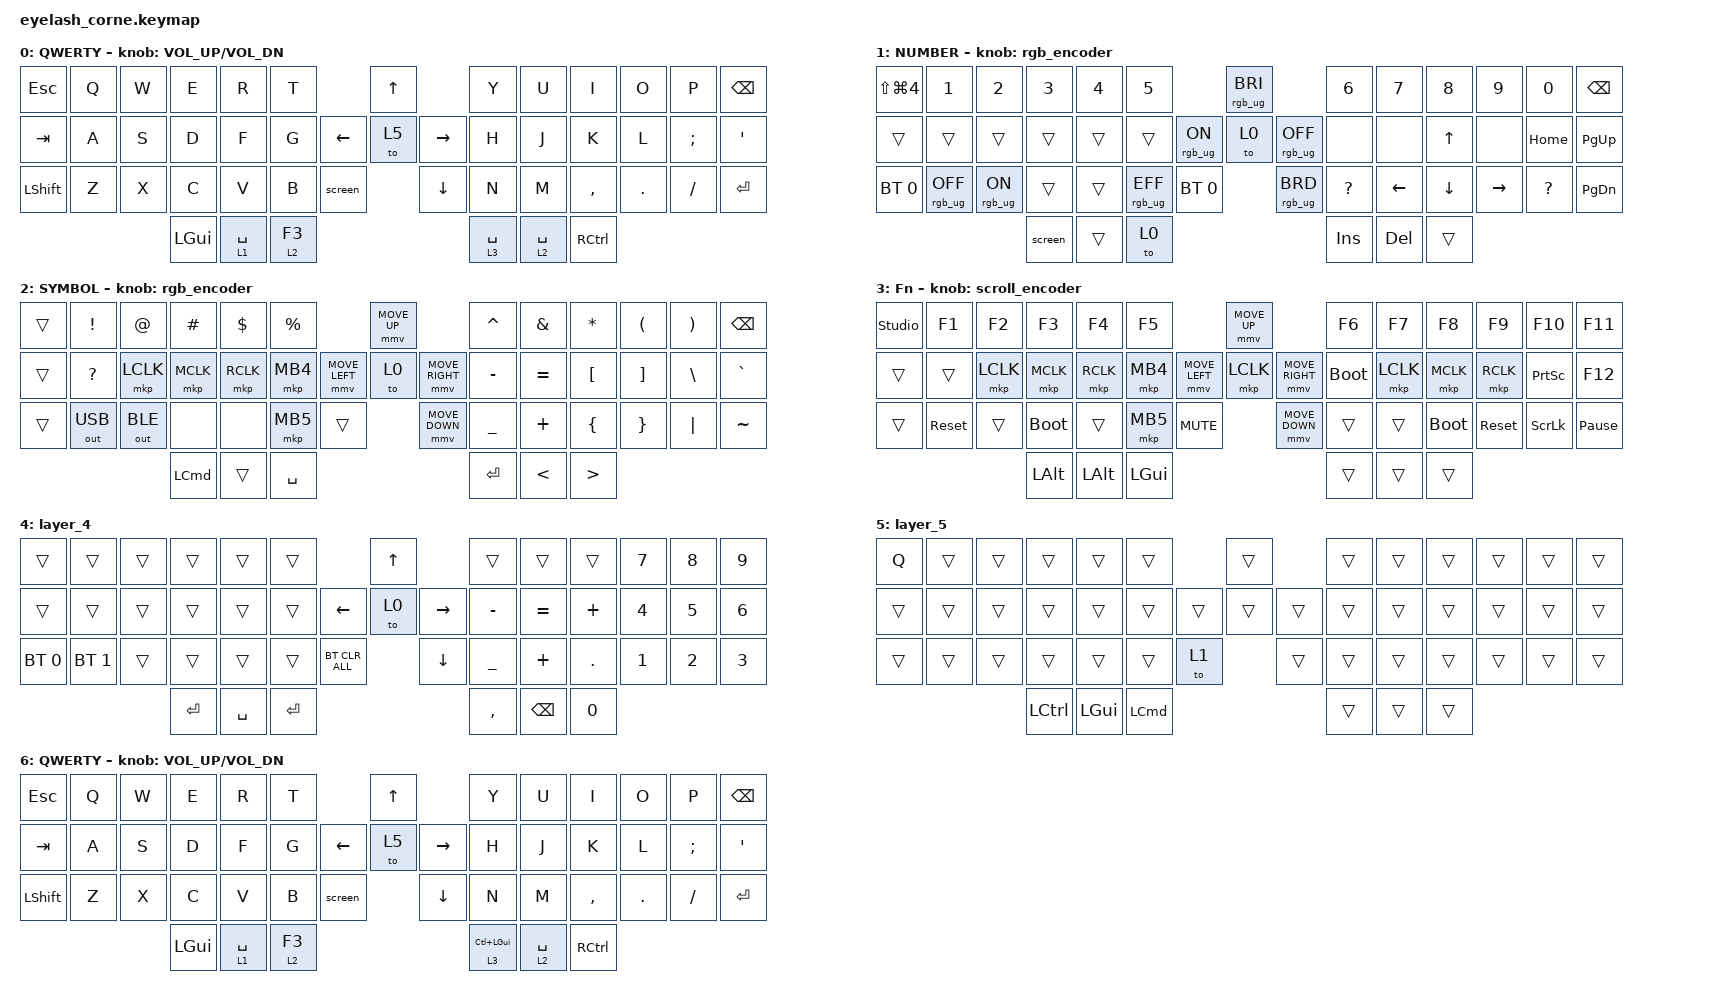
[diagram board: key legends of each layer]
#include <dt-bindings/zmk/mouse.h>
#include <input/processors.dtsi>
#include <behaviors.dtsi>
#include <dt-bindings/zmk/bt.h>
#include <dt-bindings/zmk/keys.h>
#include <dt-bindings/zmk/outputs.h>
#include <dt-bindings/zmk/pointing.h>
#include <dt-bindings/zmk/rgb.h>

/*

   &mmv_input_listener {
       input-processors = <&zip_xy_scaler 2 1>;
   };

   &msc_input_listener {
       input-processors = <&zip_xy_scaler 2 1>;
   };

 */

#define ZMK_MOUSE_DEFAULT_MOVE_VAL 1200  // 600
#define ZMK_MOUSE_DEFAULT_SCRL_VAL 20    // 10

/ {
    behaviors {
        td0: td0 {
            compatible = "zmk,behavior-tap-dance";
            display-name = "Shift/Caps Lock Tap Dance";
            #binding-cells = <0>;
            bindings = <&kp LEFT_SHIFT>, <&kp CAPS>;
        };
    };

    rgb_encoder: rgb_encoder {
        compatible = "zmk,behavior-sensor-rotate";
        #sensor-binding-cells = <0>;
        bindings = <&rgb_ug RGB_BRI>, <&rgb_ug RGB_BRD>;
    };

    scroll_encoder: scroll_encoder {
        compatible = "zmk,behavior-sensor-rotate";
        #sensor-binding-cells = <0>;
        bindings = <&msc SCRL_DOWN>, <&msc SCRL_UP>;

        tap-ms = <30>;
    };

    macros {
        screen: screen {
            compatible = "zmk,behavior-macro";
            #binding-cells = <0>;
            bindings = <&kp LS(LG(NUMBER_4))>;
            label = "SCREEN";
        };

        no1: no1 {
            compatible = "zmk,behavior-macro";
            #binding-cells = <0>;
            bindings = <&kp LG(NUMBER_1) &kp NUMBER_1>;
            label = "NO1";
        };

        no2: no2 {
            compatible = "zmk,behavior-macro";
            #binding-cells = <0>;
            bindings = <&kp LG(W) &kp NUMBER_2>;
            label = "NO2";
        };

        RgbLayer4: Layer4Glow {
            compatible = "zmk,behavior-macro";
            #binding-cells = <0>;
            bindings =
                <&rgb_ug RGB_ON &rgb_ug RGB_COLOR_HSB(0,100,50) &to 4>,
                <&macro_wait_time 3>,
                <&rgb_ug RGB_OFF>;

            label = "LAYER4GLOW";
        };

        RgbLayer0: RgbLayer1 {
            compatible = "zmk,behavior-macro";
            #binding-cells = <0>;
            bindings =
                <&rgb_ug RGB_ON &rgb_ug RGB_COLOR_HSB(203,100,50) &to 0>,
                <&macro_wait_time 3>,
                <&rgb_ug RGB_OFF>;

            label = "RGBLAYER1";
        };

        RgbLayer2: RgbLayer3 {
            compatible = "zmk,behavior-macro";
            #binding-cells = <0>;
            bindings =
                <&rgb_ug RGB_ON &rgb_ug RGB_COLOR_HSB(270,100,50) &to 2>,
                <&macro_wait_time 3>,
                <&rgb_ug RGB_OFF>;

            label = "RGBLAYER3";
        };

        RgbLayer4Cons: RgbLayer4Cons {
            compatible = "zmk,behavior-macro";
            #binding-cells = <0>;
            bindings = <&rgb_ug RGB_ON &rgb_ug RGB_COLOR_HSB(0,100,50) &to 4>;
            label = "RGBLAYER4CONS";
        };

        RgbLayer0Cons: RgbLayer0Cons {
            compatible = "zmk,behavior-macro";
            #binding-cells = <0>;
            bindings = <&rgb_ug RGB_ON &rgb_ug RGB_COLOR_HSB(203,100,50) &to 0>;
            label = "RGBLAYER0CONS";
        };

        RgbLayer2Cons: RgbLayer3Cons {
            compatible = "zmk,behavior-macro";
            #binding-cells = <0>;
            bindings = <&rgb_ug RGB_ON &rgb_ug RGB_COLOR_HSB(270,100,50) &to 2>;
            label = "RGBLAYER3CONS";
        };

        DesktopLeft: DesktopLeft {
            compatible = "zmk,behavior-macro";
            #binding-cells = <0>;
            bindings = <&DesktopLeft>;
            label = "DESKTOPLEFT";
        };
    };

    combos {
        compatible = "zmk,combos";

        caps {
            bindings = <&caps_word>;
            key-positions = <28 13>;
            layers = <0>;
        };

        screen {
            bindings = <&screen>;
            key-positions = <42 0>;
        };

        sc {
            bindings = <&kp LG(LS(NUMBER_4))>;
            key-positions = <0 1>;
        };

        no2 {
            bindings = <&RgbLayer0>;
            key-positions = <42 1>;
        };

        no1 {
            bindings = <&RgbLayer4>;
            key-positions = <42 2>;
        };

        no3 {
            bindings = <&RgbLayer2Cons>;
            key-positions = <42 3>;
        };

        no4 {
            bindings = <&kp NUMBER_4>;
            key-positions = <42 4>;
        };

        no5 {
            bindings = <&kp NUMBER_5>;
            key-positions = <42 5>;
        };

        newMozillaBrowse {
            bindings = <&kp LG(T)>;
            key-positions = <42 18>;
        };

        runF5 {
            bindings = <&kp F5>;
            key-positions = <42 17>;
        };

        cmdSmdg {
            bindings = <&kp LG(EQUAL)>;
            key-positions = <42 43 1>;
        };

        PrevScreen {
            bindings = <&none>;
            key-positions = <19 42>;
        };

        nextScreen {
            bindings = <&none>;
            key-positions = <42 21>;
        };
    };

    keymap {
        compatible = "zmk,keymap";

        default_layer {
            display-name = "QWERTY";
            bindings = <
&kp ESCAPE      &kp Q  &kp W  &kp E         &kp R        &kp T                          &kp UP               &kp Y        &kp U        &kp I              &kp O    &kp P     &kp BSPC
&kp TAB         &kp A  &kp S  &kp D         &kp F        &kp G                &kp LEFT  &to 5     &kp RIGHT  &kp H        &kp J        &kp K              &kp L    &kp SEMI  &kp SQT
&kp LEFT_SHIFT  &kp Z  &kp X  &kp C         &kp V        &kp B     &screen              &kp DOWN             &kp N        &kp M        &kp COMMA          &kp DOT  &kp FSLH  &kp ENTER
                              &kp LEFT_GUI  &lt 1 SPACE  &lt 2 F3                                            &lt 3 SPACE  &lt 2 SPACE  &kp RIGHT_CONTROL
            >;

            sensor-bindings = <&inc_dec_kp C_VOLUME_UP C_VOL_DN>;
        };

        lower_layer {
            display-name = "NUMBER";
            bindings = <
&kp LS(LG(NUMBER_4))  &kp N1           &kp N2          &kp N3   &kp N4  &kp N5                                           &rgb_ug RGB_BRI                   &kp N6        &kp N7    &kp N8    &kp N9     &kp N0        &kp BSPC
&trans                &trans           &trans          &trans   &trans  &trans                           &rgb_ug RGB_ON  &to 0            &rgb_ug RGB_OFF  &none         &none     &kp UP    &none      &kp HOME      &kp PG_UP
&bt BT_SEL 0          &rgb_ug RGB_OFF  &rgb_ug RGB_ON  &trans   &trans  &rgb_ug RGB_EFF  &bt BT_SEL 0                    &rgb_ug RGB_BRD                   &kp QUESTION  &kp LEFT  &kp DOWN  &kp RIGHT  &kp QUESTION  &kp PG_DN
                                                       &screen  &trans  &to 0                                                                              &kp INS       &kp DEL   &trans
            >;

            sensor-bindings = <&rgb_encoder>;
        };

        raise_layer {
            display-name = "SYMBOL";
            bindings = <
&trans  &kp EXCL      &kp AT        &kp HASH          &kp DLLR   &kp PRCNT                            &mmv MOVE_UP                     &kp CARET  &kp AMPS       &kp ASTRK         &kp LPAR  &kp RPAR  &kp BSPC
&trans  &kp QMARK     &mkp LCLK     &mkp MCLK         &mkp RCLK  &mkp MB4             &mmv MOVE_LEFT  &to 0           &mmv MOVE_RIGHT  &kp MINUS  &kp EQUAL      &kp LBKT          &kp RBKT  &kp BSLH  &kp GRAVE
&trans  &out OUT_USB  &out OUT_BLE  &none             &none      &mkp MB5   &trans                    &mmv MOVE_DOWN                   &kp UNDER  &kp PLUS       &kp LBRC          &kp RBRC  &kp PIPE  &kp TILDE
                                    &kp LEFT_COMMAND  &trans     &kp SPACE                                                             &kp RET    &kp LESS_THAN  &kp GREATER_THAN
            >;

            sensor-bindings = <&rgb_encoder>;
        };

        layer_3 {
            display-name = "Fn";
            bindings = <
&studio_unlock  &kp F1      &kp F2     &kp F3        &kp F4        &kp F5                                      &mmv MOVE_UP                     &kp F6       &kp F7     &kp F8       &kp F9      &kp F10          &kp F11
&trans          &trans      &mkp LCLK  &mkp MCLK     &mkp RCLK     &mkp MB4                    &mmv MOVE_LEFT  &mkp LCLK       &mmv MOVE_RIGHT  &bootloader  &mkp LCLK  &mkp MCLK    &mkp RCLK   &kp PRINTSCREEN  &kp F12
&trans          &sys_reset  &trans     &bootloader   &trans        &mkp MB5      &kp C_MUTE                    &mmv MOVE_DOWN                   &trans       &trans     &bootloader  &sys_reset  &kp SCROLLLOCK   &kp PAUSE_BREAK
                                       &kp LEFT_ALT  &kp LEFT_ALT  &kp LEFT_GUI                                                                 &trans       &trans     &trans
            >;

            sensor-bindings = <&scroll_encoder>;
        };

        layer_4 {
            bindings = <
&trans        &trans        &trans  &trans     &trans     &trans                                 &kp UP_ARROW               &trans          &trans         &trans        &kp NUMBER_7  &kp NUMBER_8  &kp NUMBER_9
&trans        &trans        &trans  &trans     &trans     &trans                       &kp LEFT  &to 0           &kp RIGHT  &kp MINUS       &kp EQUAL      &kp PLUS      &kp NUMBER_4  &kp NUMBER_5  &kp NUMBER_6
&bt BT_SEL 0  &bt BT_SEL 1  &trans  &trans     &trans     &trans     &bt BT_CLR_ALL              &kp DOWN_ARROW             &kp UNDERSCORE  &kp PLUS       &kp PERIOD    &kp NUMBER_1  &kp NUMBER_2  &kp NUMBER_3
                                    &kp ENTER  &kp SPACE  &kp ENTER                                                         &kp COMMA       &kp BACKSPACE  &kp NUMBER_0
            >;
        };

        layer_5 {
            bindings = <
&kp Q   &trans  &trans  &trans            &trans    &trans                             &trans          &trans  &trans  &trans  &trans  &trans  &trans
&trans  &trans  &trans  &trans            &trans    &trans                     &trans  &trans  &trans  &trans  &trans  &trans  &trans  &trans  &trans
&trans  &trans  &trans  &trans            &trans    &trans            &to 1            &trans          &trans  &trans  &trans  &trans  &trans  &trans
                        &kp LEFT_CONTROL  &kp LGUI  &kp LEFT_COMMAND                                   &trans  &trans  &trans
            >;
        };

        layer_6 {
            display-name = "QWERTY";
            bindings = <
&kp ESCAPE      &kp Q  &kp W  &kp E         &kp R        &kp T                          &kp UP               &kp Y           &kp U        &kp I              &kp O    &kp P     &kp BSPC
&kp TAB         &kp A  &kp S  &kp D         &kp F        &kp G                &kp LEFT  &to 5     &kp RIGHT  &kp H           &kp J        &kp K              &kp L    &kp SEMI  &kp SQT
&kp LEFT_SHIFT  &kp Z  &kp X  &kp C         &kp V        &kp B     &screen              &kp DOWN             &kp N           &kp M        &kp COMMA          &kp DOT  &kp FSLH  &kp ENTER
                              &kp LEFT_GUI  &lt 1 SPACE  &lt 2 F3                                            &lt 3 LC(LGUI)  &lt 2 SPACE  &kp RIGHT_CONTROL
            >;

            sensor-bindings = <&inc_dec_kp C_VOLUME_UP C_VOL_DN>;
        };
    };
};
